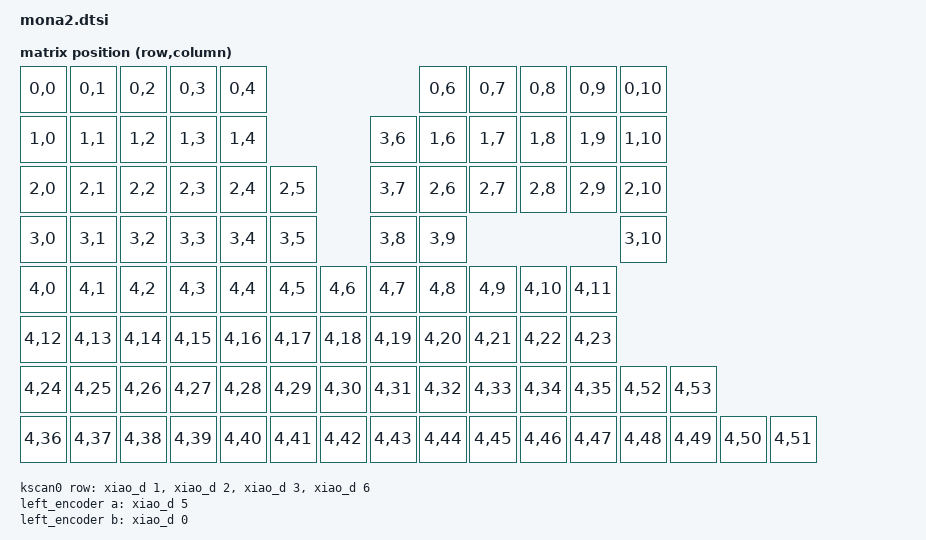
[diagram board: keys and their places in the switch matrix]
#include <dt-bindings/zmk/matrix_transform.h>
#include <input/processors.dtsi>
#include <dt-bindings/zmk/input_transform.h>
#include <physical_layouts.dtsi>

/ {
    chosen {
        zmk,physical-layout = &physical_layout0;
    };

    physical_layout0: physical_layout_0 {
        compatible = "zmk,physical-layout";
        display-name = "default_layout";

        kscan = <&kscan0>;
        transform = <&default_transform>;

        keys  //                     w   h    x    y     rot    rx    ry
            = <&key_physical_attrs 100 100    0    0       0     0     0>
            , <&key_physical_attrs 100 100  100    0       0     0     0>
            , <&key_physical_attrs 100 100  200    0       0     0     0>
            , <&key_physical_attrs 100 100  300    0       0     0     0>
            , <&key_physical_attrs 100 100  400    0       0     0     0>
            , <&key_physical_attrs 100 100  800    0       0     0     0>
            , <&key_physical_attrs 100 100  900    0       0     0     0>
            , <&key_physical_attrs 100 100 1000    0       0     0     0>
            , <&key_physical_attrs 100 100 1100    0       0     0     0>
            , <&key_physical_attrs 100 100 1200    0       0     0     0>
            , <&key_physical_attrs 100 100    0  100       0     0     0>
            , <&key_physical_attrs 100 100  100  100       0     0     0>
            , <&key_physical_attrs 100 100  200  100       0     0     0>
            , <&key_physical_attrs 100 100  300  100       0     0     0>
            , <&key_physical_attrs 100 100  400  100       0     0     0>
            , <&key_physical_attrs 100 100  700  100       0     0     0>
            , <&key_physical_attrs 100 100  800  100       0     0     0>
            , <&key_physical_attrs 100 100  900  100       0     0     0>
            , <&key_physical_attrs 100 100 1000  100       0     0     0>
            , <&key_physical_attrs 100 100 1100  100       0     0     0>
            , <&key_physical_attrs 100 100 1200  100       0     0     0>
            , <&key_physical_attrs 100 100    0  200       0     0     0>
            , <&key_physical_attrs 100 100  100  200       0     0     0>
            , <&key_physical_attrs 100 100  200  200       0     0     0>
            , <&key_physical_attrs 100 100  300  200       0     0     0>
            , <&key_physical_attrs 100 100  400  200       0     0     0>
            , <&key_physical_attrs 100 100  500  200       0     0     0>
            , <&key_physical_attrs 100 100  700  200       0     0     0>
            , <&key_physical_attrs 100 100  800  200       0     0     0>
            , <&key_physical_attrs 100 100  900  200       0     0     0>
            , <&key_physical_attrs 100 100 1000  200       0     0     0>
            , <&key_physical_attrs 100 100 1100  200       0     0     0>
            , <&key_physical_attrs 100 100 1200  200       0     0     0>
            , <&key_physical_attrs 100 100    0  300       0     0     0>
            , <&key_physical_attrs 100 100  100  300       0     0     0>
            , <&key_physical_attrs 100 100  200  300       0     0     0>
            , <&key_physical_attrs 100 100  300  300       0     0     0>
            , <&key_physical_attrs 100 100  400  300       0     0     0>
            , <&key_physical_attrs 100 100  500  300       0     0     0>
            , <&key_physical_attrs 100 100  700  300       0     0     0>
            , <&key_physical_attrs 100 100  800  300       0     0     0>
            , <&key_physical_attrs 100 100 1200  300       0     0     0>

            // ZW3021 virtual output keyboard (54 slots: '0'-'9', 'a'-'z',
            // then the US-keyboard top-row symbols plus . and ,, LSHIFT,
            // and Enter -- see the slots after this block).
            // Never scanned by real kscan hardware -- see the matching
            // RC(4,N) entries below. Used by zw3021.c to type out
            // per-fingerprint NVS-stored strings one character at a time;
            // see zmk-driver-zw3021/README.md.
            , <&key_physical_attrs 100 100    0  400       0     0     0>
            , <&key_physical_attrs 100 100  100  400       0     0     0>
            , <&key_physical_attrs 100 100  200  400       0     0     0>
            , <&key_physical_attrs 100 100  300  400       0     0     0>
            , <&key_physical_attrs 100 100  400  400       0     0     0>
            , <&key_physical_attrs 100 100  500  400       0     0     0>
            , <&key_physical_attrs 100 100  600  400       0     0     0>
            , <&key_physical_attrs 100 100  700  400       0     0     0>
            , <&key_physical_attrs 100 100  800  400       0     0     0>
            , <&key_physical_attrs 100 100  900  400       0     0     0>
            , <&key_physical_attrs 100 100 1000  400       0     0     0>
            , <&key_physical_attrs 100 100 1100  400       0     0     0>
            , <&key_physical_attrs 100 100    0  500       0     0     0>
            , <&key_physical_attrs 100 100  100  500       0     0     0>
            , <&key_physical_attrs 100 100  200  500       0     0     0>
            , <&key_physical_attrs 100 100  300  500       0     0     0>
            , <&key_physical_attrs 100 100  400  500       0     0     0>
            , <&key_physical_attrs 100 100  500  500       0     0     0>
            , <&key_physical_attrs 100 100  600  500       0     0     0>
            , <&key_physical_attrs 100 100  700  500       0     0     0>
            , <&key_physical_attrs 100 100  800  500       0     0     0>
            , <&key_physical_attrs 100 100  900  500       0     0     0>
            , <&key_physical_attrs 100 100 1000  500       0     0     0>
            , <&key_physical_attrs 100 100 1100  500       0     0     0>
            , <&key_physical_attrs 100 100    0  600       0     0     0>
            , <&key_physical_attrs 100 100  100  600       0     0     0>
            , <&key_physical_attrs 100 100  200  600       0     0     0>
            , <&key_physical_attrs 100 100  300  600       0     0     0>
            , <&key_physical_attrs 100 100  400  600       0     0     0>
            , <&key_physical_attrs 100 100  500  600       0     0     0>
            , <&key_physical_attrs 100 100  600  600       0     0     0>
            , <&key_physical_attrs 100 100  700  600       0     0     0>
            , <&key_physical_attrs 100 100  800  600       0     0     0>
            , <&key_physical_attrs 100 100  900  600       0     0     0>
            , <&key_physical_attrs 100 100 1000  600       0     0     0>
            , <&key_physical_attrs 100 100 1100  600       0     0     0>

            // Virtual slots 37-52: US-keyboard top-row symbols
            // (! @ # $ % ^ & * ( ) - _ = +) plus . , (needed for email
            // addresses), in that order -- see zw3021.c
            // ZW3021_OUTPUT_SYMBOL_BASE / zw3021_char_to_offset()).
            , <&key_physical_attrs 100 100    0  700       0     0     0>
            , <&key_physical_attrs 100 100  100  700       0     0     0>
            , <&key_physical_attrs 100 100  200  700       0     0     0>
            , <&key_physical_attrs 100 100  300  700       0     0     0>
            , <&key_physical_attrs 100 100  400  700       0     0     0>
            , <&key_physical_attrs 100 100  500  700       0     0     0>
            , <&key_physical_attrs 100 100  600  700       0     0     0>
            , <&key_physical_attrs 100 100  700  700       0     0     0>
            , <&key_physical_attrs 100 100  800  700       0     0     0>
            , <&key_physical_attrs 100 100  900  700       0     0     0>
            , <&key_physical_attrs 100 100 1000  700       0     0     0>
            , <&key_physical_attrs 100 100 1100  700       0     0     0>
            , <&key_physical_attrs 100 100 1200  700       0     0     0>
            , <&key_physical_attrs 100 100 1300  700       0     0     0>
            , <&key_physical_attrs 100 100 1400  700       0     0     0>
            , <&key_physical_attrs 100 100 1500  700       0     0     0>

            // 53rd virtual slot: LSHIFT, held while typing an uppercase
            // letter of the output string (see zw3021.c
            // ZW3021_OUTPUT_SHIFT_OFFSET).
            , <&key_physical_attrs 100 100 1200  600       0     0     0>

            // 54th virtual slot: Enter, sent after the output string when
            // enabled per-fingerprint-ID (see zw3021.c ZW3021_OUTPUT_ENTER_OFFSET).
            , <&key_physical_attrs 100 100 1300  600       0     0     0>
            ;
    };

    default_transform: keymap_transform_0 {
        compatible = "zmk,matrix-transform";
        columns = <11>;
        rows = <4>;
        map = <
            RC(0,0) RC(0,1) RC(0,2) RC(0,3) RC(0,4)                     RC(0,6) RC(0,7) RC(0,8) RC(0,9) RC(0,10)
            RC(1,0) RC(1,1) RC(1,2) RC(1,3) RC(1,4)             RC(3,6) RC(1,6) RC(1,7) RC(1,8) RC(1,9) RC(1,10)
            RC(2,0) RC(2,1) RC(2,2) RC(2,3) RC(2,4) RC(2,5)     RC(3,7) RC(2,6) RC(2,7) RC(2,8) RC(2,9) RC(2,10)
            RC(3,0) RC(3,1) RC(3,2) RC(3,3) RC(3,4) RC(3,5)     RC(3,8) RC(3,9)                         RC(3,10)

            // Virtual output keyboard positions (row 4: unreachable by real
            // kscan, which only has 4 physical rows numbered 0-3).
            RC(4,0) RC(4,1) RC(4,2) RC(4,3) RC(4,4) RC(4,5) RC(4,6) RC(4,7) RC(4,8) RC(4,9) RC(4,10) RC(4,11)
            RC(4,12) RC(4,13) RC(4,14) RC(4,15) RC(4,16) RC(4,17) RC(4,18) RC(4,19) RC(4,20) RC(4,21) RC(4,22) RC(4,23)
            RC(4,24) RC(4,25) RC(4,26) RC(4,27) RC(4,28) RC(4,29) RC(4,30) RC(4,31) RC(4,32) RC(4,33) RC(4,34) RC(4,35)
            RC(4,36) RC(4,37) RC(4,38) RC(4,39) RC(4,40) RC(4,41) RC(4,42) RC(4,43) RC(4,44) RC(4,45) RC(4,46) RC(4,47)
            RC(4,48) RC(4,49) RC(4,50) RC(4,51) RC(4,52) RC(4,53)
        >;
    };
    
    kscan0: kscan {
        compatible = "zmk,kscan-gpio-matrix";
        label = "KSCAN";
        diode-direction = "col2row";
            row-gpios
                = <&xiao_d 1 (GPIO_ACTIVE_HIGH | GPIO_PULL_DOWN)> 
                , <&xiao_d 2 (GPIO_ACTIVE_HIGH | GPIO_PULL_DOWN)> 
                , <&xiao_d 3 (GPIO_ACTIVE_HIGH | GPIO_PULL_DOWN)> 
                , <&xiao_d 6 (GPIO_ACTIVE_HIGH | GPIO_PULL_DOWN)> 			
                ;
    };

    //right hand trackball
    trackball_central_listener: trackball_central_listener {
        compatible = "zmk,input-listener";
        status = "disabled";
        input-processors = 
            <&zip_xy_transform INPUT_TRANSFORM_Y_INVERT>;         //Y軸反転
            //<&zip_xy_transform INPUT_TRANSFORM_XY_SWAP>,        //X軸とY軸の入れ替え
            //<&zip_xy_transform INPUT_TRANSFORM_X_INVERT>,       //X軸反転
            //<&zip_temp_layer 5 500>;                            //オートマウスレイヤーの選択
    };

    left_encoder: encoder_left {
        compatible = "alps,ec11";
        a-gpios = <&xiao_d 5 (GPIO_ACTIVE_HIGH | GPIO_PULL_UP)>;
        b-gpios = <&xiao_d 0 (GPIO_ACTIVE_HIGH | GPIO_PULL_UP)>;
        steps = <24>;
        status = "disabled";
    };

    right_encoder: encoder_right {
        status = "disabled";
    };

    sensors: sensors {
        compatible = "zmk,keymap-sensors";
        sensors = <&left_encoder &right_encoder>;
        triggers-per-rotation = <10>;
    };

    // ZW3021 fingerprint admin behaviors. BEHAVIOR_LOCALITY_GLOBAL: these
    // run on both L and R builds, but only L (which has the sensor) does
    // anything; see zmk-driver-zw3021/README.md.
    //
    // Node names must be <= 8 characters: the BLE split transport's
    // "run behavior" characteristic packs the device name into
    // char behavior_dev[ZMK_SPLIT_RUN_BEHAVIOR_DEV_LEN] where
    // ZMK_SPLIT_RUN_BEHAVIOR_DEV_LEN is 9
    // (zmk/app/include/zmk/split/bluetooth/service.h), and DEVICE_DT_NAME()
    // falls back to the DT node's own name when there's no separate
    // `label` property. A longer name gets silently truncated ("Truncated
    // behavior label ...") and the peripheral can never resolve it -- the
    // phandle labels below (used by &zw3021_enroll etc. in the keymap) can
    // stay long since only the node name itself is transmitted.
    zw3021_enroll: zwenroll {
        compatible = "razilyis,zw3021-enroll";
        #binding-cells = <1>;
        display-name = "ZW3021 Enroll";
    };

    zw3021_delete: zwdelete {
        compatible = "razilyis,zw3021-delete";
        #binding-cells = <1>;
        display-name = "ZW3021 Delete";
    };

    zw3021_clear: zwclear {
        compatible = "razilyis,zw3021-clear";
        #binding-cells = <0>;
        display-name = "ZW3021 Clear";
    };

};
